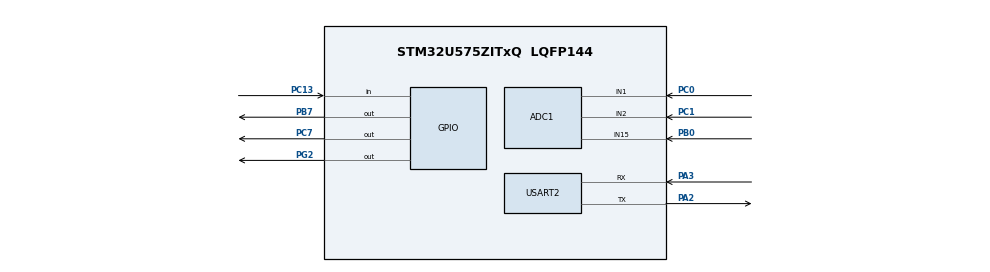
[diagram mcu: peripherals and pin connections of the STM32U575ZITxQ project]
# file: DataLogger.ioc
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ADC1.Channel-0\#ChannelRegularConversion=ADC_CHANNEL_1
ADC1.Channel-3\#ChannelRegularConversion=ADC_CHANNEL_2
ADC1.ClockPrescaler=ADC_CLOCK_ASYNC_DIV1
ADC1.DiscontinuousConvMode=ENABLE
ADC1.EnableRegularConversion=ENABLE
ADC1.MonitoredBy-0\#ChannelRegularConversion=__NULL
ADC1.MonitoredBy-3\#ChannelRegularConversion=__NULL
ADC1.NbrOfConversion=2
ADC1.NbrOfConversionFlag=1
ADC1.OffsetNumber-0\#ChannelRegularConversion=ADC_OFFSET_NONE
ADC1.OffsetNumber-3\#ChannelRegularConversion=ADC_OFFSET_NONE
ADC1.Rank-0\#ChannelRegularConversion=1
ADC1.Rank-3\#ChannelRegularConversion=2
ADC1.SamplingTime-0\#ChannelRegularConversion=ADC_SAMPLETIME_5CYCLE
ADC1.SamplingTime-3\#ChannelRegularConversion=ADC_SAMPLETIME_5CYCLE
ADC1.master=1
CORTEX_M33_NS.userName=CORTEX_M33
Mcu.Family=STM32U5
Mcu.Name=STM32U575ZITxQ
Mcu.Package=LQFP144
NUCLEO-U575ZI-Q.BUTTON=1
NUCLEO-U575ZI-Q.LD1=true
NUCLEO-U575ZI-Q.LD2=true
NUCLEO-U575ZI-Q.LD3=true
NUCLEO-U575ZI-Q.VCP=true
NVIC.EXTI13_IRQn=true\:0\:0\:false\:false\:true\:false\:true\:true
NVIC.PriorityGroup=NVIC_PRIORITYGROUP_3
NVIC.TIM17_IRQn=true\:7\:0\:false\:false\:true\:false\:true\:true
NVIC.TimeBase=TIM17_IRQn
NVIC.TimeBaseIP=TIM17
PA10.Signal=USART1_RX
PA13\ (JTMS/SWDIO).Signal=DEBUG_JTMS-SWDIO
PA14\ (JTCK/SWCLK).Signal=DEBUG_JTCK-SWCLK
PA2.Mode=Asynchronous
PA2.Signal=USART2_TX
PA3.Mode=Asynchronous
PA3.Signal=USART2_RX
PA9.Signal=USART1_TX
PB0.Mode=IN15-Single-Ended
PB0.Signal=ADC1_IN15
PB3\ (JTDO/TRACESWO).Signal=DEBUG_JTDO-SWO
PB7.Signal=GPIO_Output
PC0.Mode=IN1-Single-Ended
PC0.Signal=ADC1_IN1
PC1.Mode=IN2-Single-Ended
PC1.Signal=ADC1_IN2
PC13.Signal=GPIO_Input
PC14-OSC32_IN\ (PC14).Signal=RCC_OSC32_IN
PC15-OSC32_OUT\ (PC15).Signal=RCC_OSC32_OUT
PC7.Signal=GPIO_Output
PG2.Signal=GPIO_Output
PWR.PowerMode=PWR_SMPS_SUPPLY
ProjectManager.HeapSize=0x200
ProjectManager.StackSize=0x400
ProjectManager.TargetToolchain=STM32CubeIDE
RCC.ADCFreq_Value=16000000
RCC.DACCLockSelectionVirtual=RCC_DAC1CLKSOURCE_LSI
RCC.EPOD_VALUE=4000000
RCC.HSE_VALUE=16000000
RCC.HSI48_VALUE=48000000
RCC.HSI_VALUE=16000000
RCC.LSE_VALUE=32768
RCC.LSIDIV_VALUE=32000
RCC.MSI_VALUE=4000000
RCC.USBFreq_Value=48000000
RCC.VCOOutputFreq_Value=516000000
USART2.VirtualMode-Asynchronous=VM_ASYNC
VP_ICACHE_VS_ENABLE_ICACHE_MEMORY.Mode=Memoryregions
VP_ICACHE_VS_ICACHE.Mode=DirectMappedCache
VP_LPBAMQUEUE_VS_QUEUE.Mode=QUEUEMODE
VP_LPBAM_VS_SIG1.Mode=SmartRun
VP_LPBAM_VS_SIG4.Mode=LPDMA1
VP_MEMORYMAP_VS_MEMORYMAP.Mode=CurAppReg
VP_NUCLEO-U575ZI-Q_VS_BSP_COMMON.Mode=COMMON
VP_PWR_VS_DBSignals.Mode=DisableDeadBatterySignals
VP_PWR_VS_LPOM.Mode=PowerOptimisation
VP_PWR_VS_SECSignals.Mode=Security/Privilege
VP_PWR_Vdda.Mode=isolationVdda
VP_SYS_VS_tim17.Mode=TIM17
board=NUCLEO-U575ZI-Q

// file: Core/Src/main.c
/* USER CODE BEGIN Header */
/**
  ******************************************************************************
  * @file           : main.c
  * @brief          : Main program body
  ******************************************************************************
  * @attention
  *
  * Copyright (c) 2025 STMicroelectronics.
  * All rights reserved.
  *
  * This software is licensed under terms that can be found in the LICENSE file
  * in the root directory of this software component.
  * If no LICENSE file comes with this software, it is provided AS-IS.
  *
  ******************************************************************************
  */
/* USER CODE END Header */
#include "main.h"

/* USER CODE BEGIN Includes */
#include <stdio.h>
#include <string.h>
#include <stdlib.h>
#include <math.h>
#include <time.h>
#include <sys/time.h>
#include <unistd.h>
//#include "stm32u5xx_hal.h" // Ensure HAL is included
#include <stdbool.h> // for the averaging function
#include "datalogging.h"
/* USER CODE END Includes */

/* USER CODE BEGIN PD */
#define NUM_READINGS 30
/* USER CODE END PD */

COM_InitTypeDef BspCOMInit;
ADC_HandleTypeDef hadc1;

UART_HandleTypeDef huart2;

/* USER CODE BEGIN PV */
float voltageBuffer[NUM_READINGS] = {0};
float currentBuffer[NUM_READINGS] = {0};
float temperatureBuffer[NUM_READINGS] = {0};
int bufferIndex = 0;
bool bufferFilled = false;
/* USER CODE END PV */

void SystemClock_Config(void);
static void SystemPower_Config(void);
static void MX_GPIO_Init(void);
static void MX_ICACHE_Init(void);
static void MX_USART2_UART_Init(void);
static void MX_ADC1_Init(void);
/* USER CODE BEGIN PFP */
#ifdef __GNUC__
/* With GCC/RAISONANCE, small printf (option LD Linker->Libraries->Small printf
   set to 'Yes') calls __io_putchar() */
#define PUTCHAR_PROTOTYPE int __io_putchar(int ch)
#else
#define PUTCHAR_PROTOTYPE int fputc(int ch, FILE *f)
#endif /* __GNUC__ */
/* USER CODE END PFP */

/* USER CODE BEGIN 0 */
unsigned long millis() {
    return HAL_GetTick(); // Returns milliseconds since boot
}
/* USER CODE END 0 */

int main(void)
{

  /* USER CODE BEGIN 1 */

//	uint32_t interval_ms = 1000; // Change this number for different interval for timestamp
//
//	unsigned long millis() {
//	    return HAL_GetTick();  // Returns milliseconds since boot
//	}
//
//	unsigned long startTime = millis();
  /* USER CODE END 1 */

  /* MCU Configuration--------------------------------------------------------*/

  /* Reset of all peripherals, Initializes the Flash interface and the Systick. */
  HAL_Init();

  /* Configure the System Power */
  SystemPower_Config();

  /* Configure the system clock */
  SystemClock_Config();

  /* Initialize all configured peripherals */
  MX_GPIO_Init();
  MX_ICACHE_Init();
  MX_USART2_UART_Init();
  MX_ADC1_Init();
  /* USER CODE BEGIN 2 */
  datalogging_init(&hadc1);  // 🔹 Setup datalogging with your ADC
  set_interval(500); // ⏱ Set interval to __ms
  /* USER CODE END 2 */

  /* Initialize leds */
  BSP_LED_Init(LED_GREEN);
  BSP_LED_Init(LED_BLUE);
  BSP_LED_Init(LED_RED);

  /* Initialize USER push-button, will be used to trigger an interrupt each time it's pressed.*/
  BSP_PB_Init(BUTTON_USER, BUTTON_MODE_EXTI);

  /* Initialize COM1 port (115200, 8 bits (7-bit data + 1 stop bit), no parity */
  BspCOMInit.BaudRate   = 115200;
  BspCOMInit.WordLength = COM_WORDLENGTH_8B;
  BspCOMInit.StopBits   = COM_STOPBITS_1;
  BspCOMInit.Parity     = COM_PARITY_NONE;
  BspCOMInit.HwFlowCtl  = COM_HWCONTROL_NONE;
  if (BSP_COM_Init(COM1, &BspCOMInit) != BSP_ERROR_NONE)
  {
    Error_Handler();
  }

  /* Infinite loop */
  /* USER CODE BEGIN WHILE */
  while (1)
  {
	  if (interval_elapsed()) {
		  float v = read_voltage();
		  float c = read_current();
		  float t = read_temperature();

		  float avgV = get_avg_voltage();
		  float avgC = get_avg_current();
		  float avgT = get_avg_temperature();

          uint32_t currentTime = get_millis();
          float currentSeconds = get_seconds();

          printf("Time Elapsed: %lu ms | %.3f s\r\n", currentTime, currentSeconds);
		  printf("Voltage: %7.3lf V Avg: %6.3lf V\r\n", v, avgV);
		  printf("Current: %7.3lf A Avg: %6.3lf A\r\n", c, avgC);
		  printf("Temp: %10.3lf°C Avg: %6.3lf°C \r\n\r\n", t, avgT);
	  }

//	unsigned long currentTime = millis();
//	float currentSeconds = currentTime / 1000.0;
//
//    /* USER CODE END WHILE */
//
//    /* USER CODE BEGIN 3 */
//	  // Voltage
//	  ADC_ChannelConfTypeDef sConfig = {0};
//
//	  uint32_t Read_ADC_Channel(uint32_t channel) {
//	      sConfig.Channel = channel;
//	      sConfig.Rank = ADC_REGULAR_RANK_1; // Always Rank 1 for single-channel conversion
//	      sConfig.SamplingTime = ADC_SAMPLETIME_5CYCLE;
//
//	      // Stop ADC before configuring a new channel
//	      HAL_ADC_Stop(&hadc1);
//
//	      // Configure ADC channel
//	      if (HAL_ADC_ConfigChannel(&hadc1, &sConfig) != HAL_OK) {
//	          printf("ADC Config Failed!\r\n");
//	          return 0;
//	      }
//
//	      // Start ADC conversion
//	      HAL_ADC_Start(&hadc1);
//	      HAL_ADC_PollForConversion(&hadc1, 100);
//	      uint32_t adc_result = HAL_ADC_GetValue(&hadc1);
//	      HAL_ADC_Stop(&hadc1);  // Stop ADC after reading
//
//	      return adc_result;
//	  }
//
//	  // 🔹 Read Voltage (Channel 1)
//
//      if ((currentTime - startTime) >= interval_ms) {  // If interval has passed
//          startTime = currentTime;  // Reset the timer
//
//          // Read ADC values
//          uint32_t adc_voltage = Read_ADC_Channel(ADC_CHANNEL_1);
//          uint32_t adc_current = Read_ADC_Channel(ADC_CHANNEL_2);
//          uint32_t adc_temperature = Read_ADC_Channel(ADC_CHANNEL_15);
//
//          // Convert ADC value to actual voltage
////          float voltage = -164 + 0.0518 * adc_voltage - 0.00000553 * pow(adc_voltage, 2) + 0.000000000205 * pow(adc_voltage, 3);
//          float voltage;
//          if (adc_voltage < 10600) {
//        	  voltage = -17.6
//        			  +0.00237 * adc_voltage;
//          }
//
//          else if (adc_voltage >= 10600) {
//        	  voltage = 249
//        			  -0.0475 * adc_voltage
//					  +0.00000234 * pow(adc_voltage, 2);
//          }
//
//          // Convert ADC value to actual current
//          float current = -551
//        		  + 0.167 * adc_current
//        		  - 0.0000171 * pow(adc_current, 2)
//          	  	  + 0.000000000595 * pow(adc_current, 3);
//
//          // Convert ADC value to actual temperature
//          float temperature;
//          float VRT, VR, RT, ln, TX;
//
//          // Assuming a 14-bit ADC (0–16384)
//          VRT = voltage * (adc_temperature / 16384.0);  // Voltage across thermistor
//          VR = voltage - VRT;                            // Voltage across known resistor
//
//          if (VR == 0) return -273.15; // Avoid division by zero
//
//          RT = VRT / (VR / 10000);          // Calculate thermistor resistance
//
//          ln = log(RT / 10000.0);
//          TX = 1.0 / ((ln / 3977) + (1.0 / 298.15));  // Temperature in Kelvin
//          TX = TX - 273.15;                     // Convert to Celsius
//          temperature = TX;
//
//          // Store values in buffers
//          voltageBuffer[bufferIndex] = voltage;
//          currentBuffer[bufferIndex] = current;
//          temperatureBuffer[bufferIndex] = temperature;
//
//          bufferIndex = (bufferIndex + 1) % NUM_READINGS;
//          if (bufferIndex == 0) bufferFilled = true;
//
//          // Calculate averages
//          int readingsCount = bufferFilled ? NUM_READINGS : bufferIndex;
//          float voltageSum = 0, currentSum = 0, temperatureSum = 0;
//
//          for (int i = 0; i < readingsCount; ++i) {
//              voltageSum += voltageBuffer[i];
//              currentSum += currentBuffer[i];
//              temperatureSum += temperatureBuffer[i];
//          }
//
//          float avgVoltage = voltageSum / readingsCount;
//          float avgCurrent = currentSum / readingsCount;
//          float avgTemperature = temperatureSum / readingsCount;
//
//
//          // Print timestamp, voltage, and current
//          printf("Time Elapsed: %lu ms | %.3lf s\r\n", currentTime, currentSeconds);
//          printf("V_ADC: %5lu, Voltage: %7.3lf V Avg: %6.3lf V\r\n", adc_voltage, voltage, avgVoltage);
//          printf("C_ADC: %5lu, Current: %7.3lf A Avg: %6.3lf A\r\n", adc_current, current, avgCurrent);
//          printf("T_ADC: %5lu, Temp: %10.3lf°C Avg: %6.3lf°C \r\n\r\n", adc_temperature, temperature, avgTemperature);
//      }
  }
  /* USER CODE END 3 */
}

void SystemClock_Config(void)
{
  RCC_OscInitTypeDef RCC_OscInitStruct = {0};
  RCC_ClkInitTypeDef RCC_ClkInitStruct = {0};

  /** Configure the main internal regulator output voltage
  */
  if (HAL_PWREx_ControlVoltageScaling(PWR_REGULATOR_VOLTAGE_SCALE4) != HAL_OK)
  {
    Error_Handler();
  }

  /** Initializes the CPU, AHB and APB buses clocks
  */
  RCC_OscInitStruct.OscillatorType = RCC_OSCILLATORTYPE_HSI|RCC_OSCILLATORTYPE_MSI;
  RCC_OscInitStruct.HSIState = RCC_HSI_ON;
  RCC_OscInitStruct.HSICalibrationValue = RCC_HSICALIBRATION_DEFAULT;
  RCC_OscInitStruct.MSIState = RCC_MSI_ON;
  RCC_OscInitStruct.MSICalibrationValue = RCC_MSICALIBRATION_DEFAULT;
  RCC_OscInitStruct.MSIClockRange = RCC_MSIRANGE_4;
  RCC_OscInitStruct.PLL.PLLState = RCC_PLL_NONE;
  if (HAL_RCC_OscConfig(&RCC_OscInitStruct) != HAL_OK)
  {
    Error_Handler();
  }

  /** Initializes the CPU, AHB and APB buses clocks
  */
  RCC_ClkInitStruct.ClockType = RCC_CLOCKTYPE_HCLK|RCC_CLOCKTYPE_SYSCLK
                              |RCC_CLOCKTYPE_PCLK1|RCC_CLOCKTYPE_PCLK2
                              |RCC_CLOCKTYPE_PCLK3;
  RCC_ClkInitStruct.SYSCLKSource = RCC_SYSCLKSOURCE_MSI;
  RCC_ClkInitStruct.AHBCLKDivider = RCC_SYSCLK_DIV1;
  RCC_ClkInitStruct.APB1CLKDivider = RCC_HCLK_DIV1;
  RCC_ClkInitStruct.APB2CLKDivider = RCC_HCLK_DIV1;
  RCC_ClkInitStruct.APB3CLKDivider = RCC_HCLK_DIV1;

  if (HAL_RCC_ClockConfig(&RCC_ClkInitStruct, FLASH_LATENCY_0) != HAL_OK)
  {
    Error_Handler();
  }
}

/**
  * @brief Power Configuration
  * @retval None
  */
static void SystemPower_Config(void)
{

  /*
   * Disable the internal Pull-Up in Dead Battery pins of UCPD peripheral
   */
  HAL_PWREx_DisableUCPDDeadBattery();

  /*
   * Switch to SMPS regulator instead of LDO
   */
  if (HAL_PWREx_ConfigSupply(PWR_SMPS_SUPPLY) != HAL_OK)
  {
    Error_Handler();
  }
}

static void MX_ADC1_Init(void)
{

  ADC_ChannelConfTypeDef sConfig = {0};

  /** Common config
  */
  hadc1.Instance = ADC1;
  hadc1.Init.ClockPrescaler = ADC_CLOCK_ASYNC_DIV1;
  hadc1.Init.Resolution = ADC_RESOLUTION_14B;
  hadc1.Init.GainCompensation = 0;
  hadc1.Init.ScanConvMode = ADC_SCAN_ENABLE;
  hadc1.Init.EOCSelection = ADC_EOC_SINGLE_CONV;
  hadc1.Init.LowPowerAutoWait = DISABLE;
  hadc1.Init.ContinuousConvMode = DISABLE;
  hadc1.Init.NbrOfConversion = 2;
  hadc1.Init.DiscontinuousConvMode = ENABLE;
  hadc1.Init.NbrOfDiscConversion = 1;
  hadc1.Init.ExternalTrigConv = ADC_SOFTWARE_START;
  hadc1.Init.ExternalTrigConvEdge = ADC_EXTERNALTRIGCONVEDGE_NONE;
  hadc1.Init.DMAContinuousRequests = DISABLE;
  hadc1.Init.TriggerFrequencyMode = ADC_TRIGGER_FREQ_HIGH;
  hadc1.Init.Overrun = ADC_OVR_DATA_PRESERVED;
  hadc1.Init.LeftBitShift = ADC_LEFTBITSHIFT_NONE;
  hadc1.Init.ConversionDataManagement = ADC_CONVERSIONDATA_DR;
  hadc1.Init.OversamplingMode = DISABLE;
  if (HAL_ADC_Init(&hadc1) != HAL_OK)
  {
    Error_Handler();
  }

  /** Configure Regular Channel
  */
  sConfig.Channel = ADC_CHANNEL_1;
  sConfig.Rank = ADC_REGULAR_RANK_1;
  sConfig.SamplingTime = ADC_SAMPLETIME_5CYCLE;
  sConfig.SingleDiff = ADC_SINGLE_ENDED;
  sConfig.OffsetNumber = ADC_OFFSET_NONE;
  sConfig.Offset = 0;
  if (HAL_ADC_ConfigChannel(&hadc1, &sConfig) != HAL_OK)
  {
    Error_Handler();
  }

  /** Configure Regular Channel
  */
  sConfig.Channel = ADC_CHANNEL_2;
  sConfig.Rank = ADC_REGULAR_RANK_2;
  if (HAL_ADC_ConfigChannel(&hadc1, &sConfig) != HAL_OK)
  {
    Error_Handler();
  }

}

static void MX_ICACHE_Init(void)
{

  /** Enable instruction cache in 1-way (direct mapped cache)
  */
  if (HAL_ICACHE_ConfigAssociativityMode(ICACHE_1WAY) != HAL_OK)
  {
    Error_Handler();
  }
  if (HAL_ICACHE_Enable() != HAL_OK)
  {
    Error_Handler();
  }

}

static void MX_USART2_UART_Init(void)
{

  huart2.Instance = USART2;
  huart2.Init.BaudRate = 115200;
  huart2.Init.WordLength = UART_WORDLENGTH_8B;
  huart2.Init.StopBits = UART_STOPBITS_1;
  huart2.Init.Parity = UART_PARITY_NONE;
  huart2.Init.Mode = UART_MODE_TX_RX;
  huart2.Init.HwFlowCtl = UART_HWCONTROL_NONE;
  huart2.Init.OverSampling = UART_OVERSAMPLING_16;
  huart2.Init.OneBitSampling = UART_ONE_BIT_SAMPLE_DISABLE;
  huart2.Init.ClockPrescaler = UART_PRESCALER_DIV1;
  huart2.AdvancedInit.AdvFeatureInit = UART_ADVFEATURE_NO_INIT;
  if (HAL_UART_Init(&huart2) != HAL_OK)
  {
    Error_Handler();
  }
  if (HAL_UARTEx_SetTxFifoThreshold(&huart2, UART_TXFIFO_THRESHOLD_1_8) != HAL_OK)
  {
    Error_Handler();
  }
  if (HAL_UARTEx_SetRxFifoThreshold(&huart2, UART_RXFIFO_THRESHOLD_1_8) != HAL_OK)
  {
    Error_Handler();
  }
  if (HAL_UARTEx_DisableFifoMode(&huart2) != HAL_OK)
  {
    Error_Handler();
  }

}

static void MX_GPIO_Init(void)
{

  /* GPIO Ports Clock Enable */
  __HAL_RCC_GPIOC_CLK_ENABLE();
  __HAL_RCC_GPIOA_CLK_ENABLE();
  __HAL_RCC_GPIOB_CLK_ENABLE();

}

/* USER CODE BEGIN 4 */
//PUTCHAR_PROTOTYPE
//{
//  /* Place your implementation of fputc here */
//  /* e.g. write a character to the USART1 and Loop until the end of transmission */
//  HAL_UART_Transmit(&huart2, (uint8_t *)&ch, 1, 0xFFFF);
//
//  return ch;
//}
/* USER CODE END 4 */

void HAL_TIM_PeriodElapsedCallback(TIM_HandleTypeDef *htim)
{
  if (htim->Instance == TIM17) {
    HAL_IncTick();
  }
}

void Error_Handler(void)
{
  __disable_irq();
  while (1)
  {
  }
}
